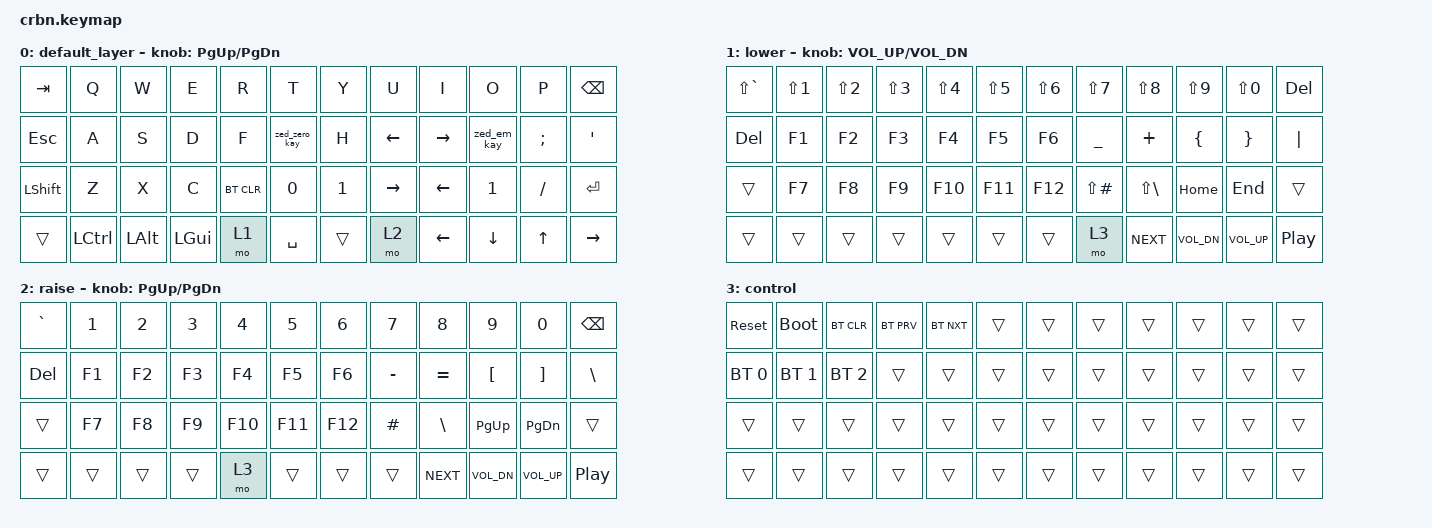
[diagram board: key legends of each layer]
/*
 * Copyright (c) 2020 The ZMK Contributors
 *
 * SPDX-License-Identifier: MIT
 */

#include <behaviors.dtsi>
#include <dt-bindings/zmk/keys.h>
#include <dt-bindings/zmk/bt.h>
#include <dt-bindings/zmk/ext_power.h>
#include <dt-bindings/zmk/outputs.h>

/ {
    macros {
        zed_zero_kay: zed_zero_kay {
            label = "ZM_zed_zero_kay";
            compatible = "zmk,behavior-macro";
            #binding-cells = <0>;
            bindings
                = <&kp N0 &kp RIGHT>
                ;
        };

	zed_em_kay: zed_em_kay {
            label = "ZM_zed_em_kay";
            compatible = "zmk,behavior-macro";
            #binding-cells = <0>;
            bindings
                = <&kp N1 &kp RIGHT>
                ;
        };
    };
};

/ {
	keymap {
		compatible = "zmk,keymap";

		default_layer {
			// -----------------------------------------------------------------------------------------
			// |  TAB  |  Q   |  W   |  E   |  R   |  T   |   Y   |  U    |  I   |  O   |   P   | BSPC  |
			// |  ESC  |  A   |  S   |  D   |  F   |  G   |   H   |  J    |  K   |  L   |   ;   |  '    |
			// | SHIFT |  Z   |  X   |  C   |  V   |  B   |   N   |  M    |  ,   |  .   |   /   |  RET  |
			// |       | LCTL | LALT | LGUI | LOWR |     SPACE    |  RAIS | LARW | DARW | UARW  |  RARW |
			bindings = <
				&kp TAB  &kp Q    &kp W &kp E &kp R &kp T  &kp Y   &kp U  &kp I    &kp O   &kp P    &kp BSPC
				&kp ESC  &kp A    &kp S &kp D &kp F &zed_zero_kay  &kp H   &kp LEFT  &kp RIGHT    &zed_em_kay   &kp SEMI &kp SQT
				&kp LSHFT &kp Z    &kp X &kp C &bt BT_CLR &kp N0 &kp N1 &kp RIGHT &kp LEFT &kp N1 &kp SLASH &kp RET
				&trans   &kp LCTRL &kp LALT &kp LGUI &mo 1 &kp SPACE &trans &mo 2 &kp LEFT &kp DOWN &kp UP &kp RIGHT
			>;

			sensor-bindings = <&inc_dec_kp PG_UP PG_DN>;
		};

		lower {
			bindings = <
				&kp LS(GRAVE) &kp LS(N1) &kp LS(N2) &kp LS(N3) &kp LS(N4) &kp LS(N5) &kp LS(N6) &kp LS(N7) &kp LS(N8) &kp LS(N9) &kp LS(N0) &kp DEL
				&kp DEL &kp F1 &kp F2 &kp F3 &kp F4 &kp F5 &kp F6 &kp UNDER &kp PLUS &kp LBRC &kp RBRC &kp PIPE
				&trans &kp F7 &kp F8 &kp F9 &kp F10 &kp F11 &kp F12 &kp LS(HASH) &kp LS(BSLH) &kp HOME &kp END &trans
				&trans &trans &trans &trans &trans &trans &trans &mo 3 &kp C_NEXT &kp C_VOL_DN &kp C_VOL_UP &kp C_PP
			>;

			sensor-bindings = <&inc_dec_kp C_VOL_UP C_VOL_DN>;
		};

		raise {
			bindings = <
				&kp GRAVE &kp N1 &kp N2 &kp N3 &kp N4 &kp N5 &kp N6 &kp N7 &kp N8 &kp N9 &kp N0 &kp BSPC
				&kp DEL &kp F1 &kp F2 &kp F3 &kp F4 &kp F5 &kp F6 &kp MINUS &kp EQUAL &kp LBKT &kp RBKT &kp BSLH
				&trans &kp F7 &kp F8 &kp F9 &kp F10 &kp F11 &kp F12 &kp HASH &kp BSLH &kp PG_UP &kp PG_DN &trans
				&trans &trans &trans &trans &mo 3 &trans &trans &trans &kp C_NEXT &kp C_VOL_DN &kp C_VOL_UP &kp C_PP
			>;

			sensor-bindings = <&inc_dec_kp PG_UP PG_DN>;
		};

		control {
			bindings = <
				&sys_reset &bootloader &bt BT_CLR &bt BT_PRV &bt BT_NXT &trans &trans &trans &trans &trans &trans &trans
				&bt BT_SEL 0 &bt BT_SEL 1 &bt BT_SEL 2 &trans &trans &trans &trans &trans &trans &trans &trans &trans
				&trans &trans &trans &trans &trans &trans &trans &trans &trans &trans &trans &trans
				&trans &trans &trans &trans &trans &trans &trans &trans &trans &trans &trans &trans
			>;
		};
	};
};
